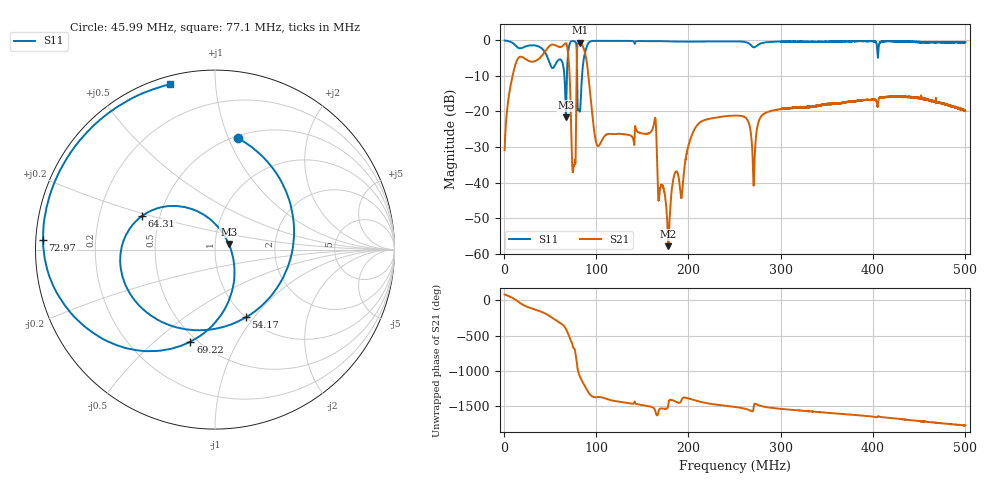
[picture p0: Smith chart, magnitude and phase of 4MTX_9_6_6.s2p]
! NanoVNA-App
! Date: 2026-08-18 21:34:10
! Start: 1MHz Stop: 500MHz Points: 6401
! S-Parameter data: F S11 S21 S12 S22
# Hz S RI R 50
!  Frequency  S11_Real  S11_Imag  S21_Real  S21_Imag  S12_Real  S12_Imag  S22_Real  S22_Imag
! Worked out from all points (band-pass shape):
!   6401 points, 1 MHz to 500 MHz, reference 50 ohm
!   highest |S21| = -0.71 dB at 82.48 MHz (marker M1); lowest = -57.9 dB at 178.3 MHz (marker M2)
!   |S21| within 3 dB of the highest: 43.35 MHz to 69.63 MHz (26.28 MHz wide, 46.5 % of centre); 79.37 MHz to 88.19 MHz (8.824 MHz wide, 10.5 % of centre)
!   lowest |S11| = -21.7 dB at 67.35 MHz (marker M3), VSWR 1.18, Z = 58.1 + j3.75 ohm
!   |S11| at or under -10 dB: 65.73 MHz to 68.44 MHz (2.711 MHz wide, 4.04 % of centre); 79.55 MHz to 84.85 MHz (5.304 MHz wide, 6.45 % of centre)
!   S12 and S22 are empty: the file has one direction only
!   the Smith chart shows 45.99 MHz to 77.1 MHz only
!   S11 on the Smith chart (normalised r, x): 45.99 MHz: 0.52, +1.08; 54.17 MHz: 1.00, -0.91; 64.31 MHz: 0.40, +0.19; 69.22 MHz: 0.46, -0.66; 72.97 MHz: 0.02, +0.03; 77.1 MHz: 0.04, +0.77
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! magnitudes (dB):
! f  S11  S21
! 1 MHz  -0.1  -30.9
! 14.49 MHz  -1.9  -5.6
! 45.99 MHz  -4.0  -2.8
! 54.17 MHz  -7.6  -1.3
! 64.31 MHz  -7.0  -1.5
! 67.35 MHz  -21.7  -0.9
! 69.22 MHz  -5.5  -2.8
! 72.97 MHz  -0.4  -23.5
! 77.1 MHz  -0.4  -33.7
! 82.48 MHz  -20.1  -0.7
! 84.19 MHz  -12.8  -0.9
! 101.4 MHz  -0.2  -29.6
! 162.7 MHz  -0.3  -23.5
! 167.4 MHz  -0.3  -44.2
! 178.3 MHz  -0.3  -57.9
! 207.9 MHz  -0.4  -24.5
! 250.5 MHz  -0.4  -21.2
! 270.7 MHz  -2.0  -40.8
! 280.8 MHz  -0.7  -20.9
! 333.7 MHz  -0.4  -18.7
! 416.9 MHz  -0.3  -15.9
! 500 MHz  -0.6  -19.9
